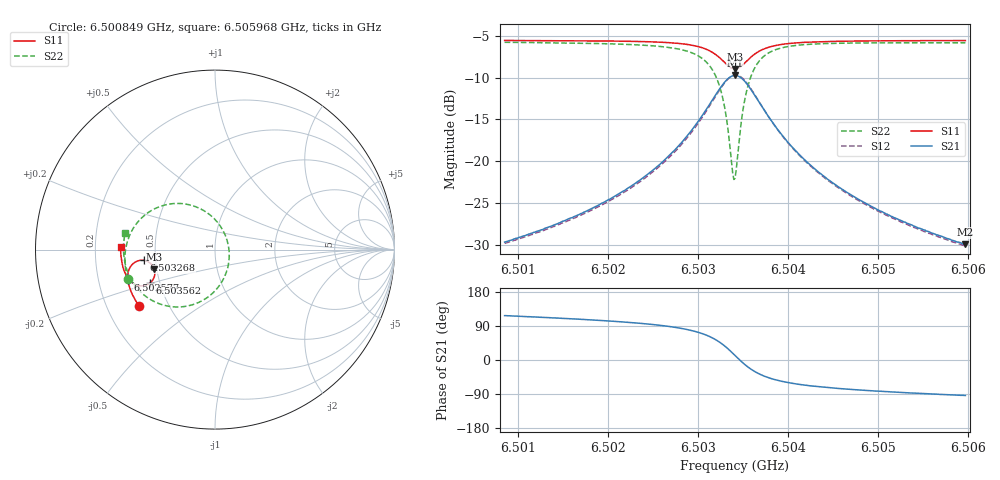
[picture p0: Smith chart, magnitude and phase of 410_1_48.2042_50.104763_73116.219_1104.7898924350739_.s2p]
#  HZ  S  RI  R  50.00
! Rohde & Schwarz Vector Network Analyzer
! Rohde-Schwarz,ZNB20-2Port,1311601062101988,3.16
! Created: UTC 3/20/2024, 11:54:23 AM
! freq[Hz]  re:S11  im:S11  re:S21  im:S21  re:S12  im:S12  re:S22  im:S22
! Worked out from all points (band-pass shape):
!   401 points, 6.500849 GHz to 6.505968 GHz, reference 50 ohm
!   highest |S21| = -9.75 dB at 6.503409 GHz (marker M1); lowest = -29.9 dB at 6.505968 GHz (marker M2)
!   |S21| within 3 dB of the highest: 6.503153 GHz to 6.503665 GHz (512 kHz wide, 0.00787 % of centre)
!   lowest |S11| = -9.0 dB at 6.503409 GHz (marker M3), VSWR 2.10, Z = 24.2 - j6.04 ohm
!   |S11| at or under -10 dB: nowhere
!   |S22| runs from -22.2 to -5.8 dB; largest |S21 - S12| = 0.011
!   S11 on the Smith chart (normalised r, x): 6.500849 GHz: 0.34, -0.30; 6.502577 GHz: 0.33, -0.15; 6.503268 GHz: 0.43, -0.06; 6.503562 GHz: 0.44, -0.20; 6.505968 GHz: 0.31, +0.01
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6.5008494e9  -0.4216 -0.3155  -0.015 0.0293  -0.0134 0.0295  -0.4865 -0.1638
6.5017069e9  -0.4591 -0.253  -0.0143 0.0467  -0.0121 0.0464  -0.5015 -0.0741
6.5021804e9  -0.4762 -0.2115  -0.0117 0.0658  -0.00879 0.0648  -0.4993 -0.00812
6.5025643e9  -0.4857 -0.1697  -0.003 0.095  0.000576 0.0927  -0.4809 0.0669
6.5025771e9  -0.4859 -0.168  -0.00248 0.0961  0.00108 0.094  -0.4798 0.0698
6.5028202e9  -0.4852 -0.1329  0.0157 0.1292  0.0194 0.1255  -0.4416 0.1392
6.5029994e9  -0.4738 -0.0998  0.0502 0.1654  0.0534 0.1601  -0.3738 0.2053
6.5031657e9  -0.4392 -0.0667  0.1273 0.1987  0.1284 0.1923  -0.2323 0.2563
6.5032681e9  -0.3967 -0.0597  0.2121 0.1902  0.2124 0.185  -0.0847 0.2292
6.5033193e9  -0.3713 -0.0682  0.2604 0.1626  0.2611 0.1581  -0.00451 0.1725
6.5033833e9  -0.3448 -0.0943  0.3079 0.0997  0.3105 0.0948  0.0673 0.0515
6.5034089e9  -0.3384 -0.1088  0.3183 0.0678  0.3213 0.0622  0.0786 -0.00779
6.5034345e9  -0.3353 -0.1243  0.3221 0.0346  0.3255 0.0278  0.077 -0.0684
6.5034985e9  -0.3422 -0.161  0.3046 -0.0427  0.3068 -0.0524  0.023 -0.2026
6.5035624e9  -0.363 -0.1868  0.2624 -0.0967  0.2613 -0.1076  -0.0722 -0.285
6.5036648e9  -0.4022 -0.202  0.1885 -0.1328  0.1834 -0.1421  -0.2206 -0.3196
6.5038312e9  -0.448 -0.1924  0.1075 -0.13  0.1007 -0.1351  -0.3665 -0.2738
6.5040103e9  -0.4753 -0.1711  0.0636 -0.1105  0.0575 -0.1127  -0.438 -0.2096
6.5042663e9  -0.496 -0.1412  0.0338 -0.0865  0.0292 -0.087  -0.4813 -0.1381
6.5046374e9  -0.5111 -0.1027  0.0153 -0.0642  0.0119 -0.0638  -0.5033 -0.0656
6.5051237e9  -0.521 -0.0579  0.00514 -0.0473  0.00289 -0.0466  -0.5098 0.00206
6.5059683e9  -0.5258 0.0131  -0.00204 -0.0318  -0.0033 -0.0309  -0.5019 0.0904
